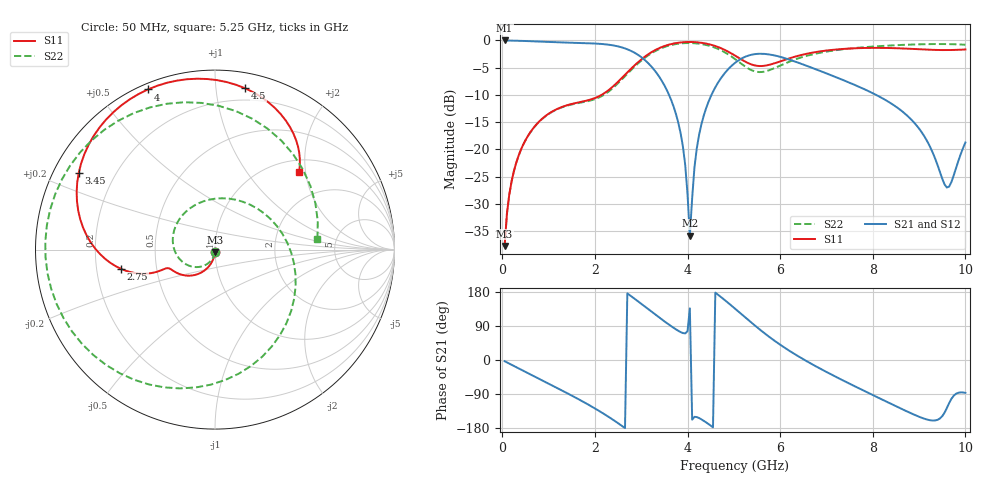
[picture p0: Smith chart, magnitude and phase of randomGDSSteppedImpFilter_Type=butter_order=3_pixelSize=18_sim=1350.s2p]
! freq	dB(S11)	phase(S11)	dB(S12)	phase(S12)
!  dB(S21)	phase(S21)	dB(S22)	phase(S22)
!S-par simulation data
#  GHz  S  DB  R 50
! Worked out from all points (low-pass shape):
!   200 points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, 50 MHz to 10 GHz, reference 50 ohm
!   highest |S21| = -0.01 dB at 50 MHz (marker M1); lowest = -35.9 dB at 4.05 GHz (marker M2)
!   |S21| within 3 dB of the highest: start of sweep to 2.99 GHz; 5.245 GHz to 5.997 GHz (751.9 MHz wide, 13.4 % of centre)
!   lowest |S11| = -37.8 dB at 50 MHz (marker M3), VSWR 1.03, Z = 49.9 - j1.29 ohm
!   |S11| at or under -10 dB: start of sweep to 2.144 GHz
!   |S22| runs from -37.8 to -0.5 dB; largest |S21 - S12| = 0
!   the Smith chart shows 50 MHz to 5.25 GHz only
!   S11 on the Smith chart (normalised r, x): 50 MHz: 1.00, -0.03; 2.75 GHz: 0.31, -0.09; 3.45 GHz: 0.07, +0.26; 4 GHz: 0.02, +0.67; 4.5 GHz: 0.11, +1.20; 5.25 GHz: 1.26, +1.84
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0.05  -37.78 -91.5  -0.01 -3.2  -0.01 -3.2  -37.79 -92.9
0.2  -25.91 -99.9  -0.03 -12.6  -0.03 -12.6  -25.93 -105.3
0.5  -18.33 -114.8  -0.11 -31.4  -0.11 -31.4  -18.36 -128.7
1.75  -11.20 -157.6  -0.49 -110.4  -0.49 -110.4  -11.33 115.6
2.25  -9.42 -159.0  -0.74 -146.5  -0.74 -146.5  -9.68 44.3
2.75  -5.46 -168.4  -1.81 171.4  -1.81 171.4  -5.70 -31.7
3.4  -1.37 154.0  -6.82 111.1  -6.82 111.1  -1.55 -116.1
3.45  -1.19 150.6  -7.50 106.5  -7.50 106.5  -1.37 -121.9
3.8  -0.42 126.4  -15.10 77.1  -15.10 77.1  -0.60 -161.2
4  -0.29 112.7  -28.28 76.1  -28.28 76.1  -0.48 177.2
4.05  -0.28 109.3  -35.86 136.2  -35.86 136.2  -0.48 171.8
4.2  -0.34 99.2  -19.81 -150.6  -19.81 -150.6  -0.55 155.4
4.5  -0.78 79.5  -10.32 -173.1  -10.32 -173.1  -1.06 120.8
5.05  -2.91 49.0  -3.97 133.0  -3.97 133.0  -3.57 42.3
5.25  -3.92 42.7  -2.99 112.1  -2.99 112.1  -4.82 5.9
5.8  -4.40 35.0  -2.63 57.8  -2.63 57.8  -5.36 -100.2
6.7  -2.24 -2.5  -5.07 -11.9  -5.07 -11.9  -2.56 156.8
7.5  -1.49 -47.2  -7.78 -62.6  -7.78 -62.6  -1.49 99.0
8.35  -1.39 -102.8  -11.33 -113.1  -11.33 -113.1  -0.94 48.4
9.25  -1.72 176.1  -19.77 -159.2  -19.77 -159.2  -0.67 1.4
9.6  -1.77 135.5  -27.02 -126.7  -27.02 -126.7  -0.67 -15.6
10  -1.67 86.6  -18.76 -86.7  -18.76 -86.7  -0.79 -34.3
